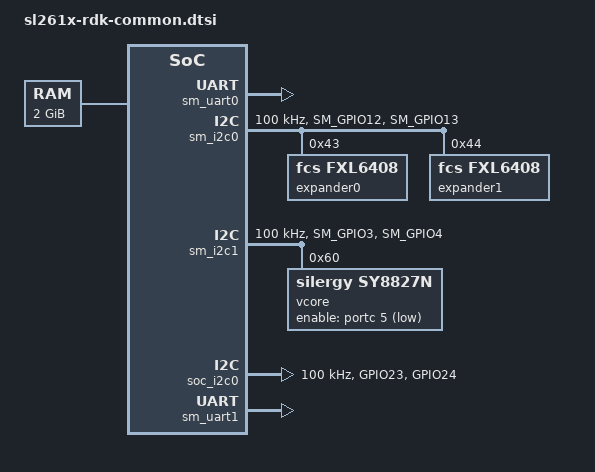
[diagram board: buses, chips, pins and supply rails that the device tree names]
// SPDX-License-Identifier: (GPL-2.0 OR MIT)
/*
 * Copyright (C) 2025 Synaptics Incorporated
 *
 * Author: Jisheng Zhang <jszhang@kernel.org>
 */

#include <dt-bindings/gpio/gpio.h>
#include <dt-bindings/input/linux-event-codes.h>

/ {
	aliases {
		serial0 = &sm_uart0;
		serial1 = &sm_uart1;
		serial2 = &sm_uart2;
		serial3 = &sm_uart3;
		serial4 = &soc_uart0;
		serial5 = &soc_uart1;
		serial6 = &soc_uart2;
		serial7 = &soc_uart3;
		i2c0 = &sm_i2c0;
		i2c1 = &sm_i2c1;
		i2c2 = &soc_i2c0;
		i2c3 = &soc_i2c1;
		spi1 = &sm_spi1;
		spi2 = &soc_spi0;
		spi3 = &soc_spi1;
		spi4 = &soc_spi2;
		spi5 = &soc_spi3;
	};

	cpus {
		cpu@0 {
			cpu0-supply = <&vcore>;
		};
	};

	chosen {
		stdout-path = "serial0:115200n8";
		bootargs = "earlycon";
	};

	memory@0 {
		device_type = "memory";
		reg = <0x0 0x00000000 0x0 0x80000000>;
	};
};

&osc {
	clock-frequency = <25000000>;
};

&pinctrl {
	soc_i2c0_pmux: soc_i2c0-pmux {
		groups = "GPIO23", "GPIO24";
		function = "tw2";
		drive-strength = <7>;
	};
};

&sm_pinctrl {
	sm_i2c0_pmux: i2c0-pmux {
		groups = "SM_GPIO12", "SM_GPIO13";
		function = "tw0";
		drive-strength = <7>;
	};

	sm_i2c1_pmux: i2c1-pmux {
		groups = "SM_GPIO3", "SM_GPIO4";
		function = "tw1";
		drive-strength = <7>;
	};

	vcore_gpio_pmux: vcore-gpio-pmux {
		groups = "SM_GPIO5";
		function = "gpio";
	};
};

&sm_uart0 {
	status = "okay";
};

&sm_i2c0 {
	status = "okay";
	pinctrl-names = "default";
	pinctrl-0 = <&sm_i2c0_pmux>;
	clock-frequency = <100000>;

	expander0: gpio@43 {
		compatible = "fcs,fxl6408";
		reg = <0x43>;
		gpio-controller;
		#gpio-cells = <2>;
	};

	expander1: gpio@44 {
		compatible = "fcs,fxl6408";
		reg = <0x44>;
		gpio-controller;
		#gpio-cells = <2>;
	};
};

&sm_i2c1 {
	status = "okay";
	pinctrl-names = "default";
	pinctrl-0 = <&sm_i2c1_pmux>;
	clock-frequency = <100000>;

	vcore: regulator@60 {
		compatible = "silergy,sy8827n";
		reg = <0x60>;
		regulator-name = "vcore";
		regulator-min-microvolt = <700000>;
		regulator-max-microvolt = <987500>;
		regulator-always-on;
		regulator-boot-on;
		regulator-active-discharge = <0>;
		pinctrl-names = "default";
		pinctrl-0 = <&vcore_gpio_pmux>;
		enable-gpios = <&portc 5 GPIO_ACTIVE_LOW>;
	};
};

&soc_i2c0 {
	status = "okay";
	pinctrl-names = "default";
	pinctrl-0 = <&soc_i2c0_pmux>;
	clock-frequency = <100000>;
};

&sm_uart1 {
	status = "okay";
};
